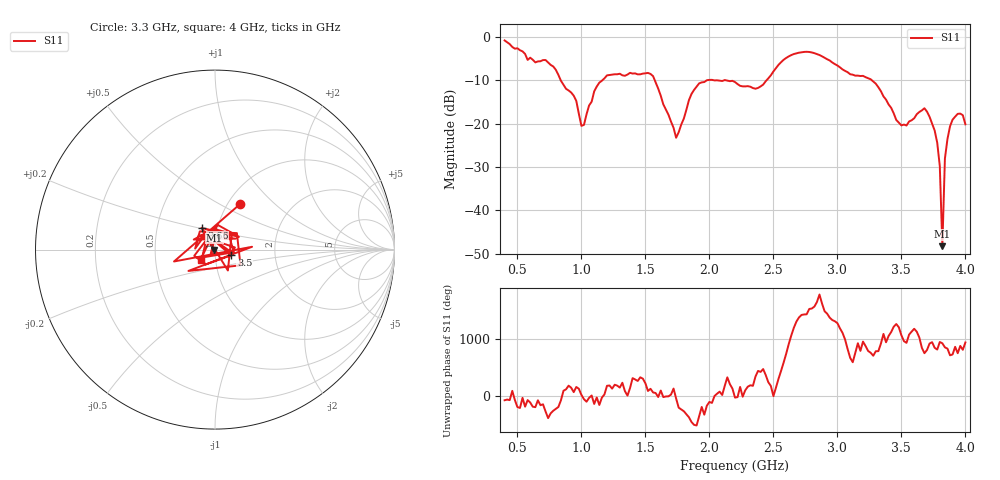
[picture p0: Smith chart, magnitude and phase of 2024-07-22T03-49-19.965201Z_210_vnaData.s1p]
!Created with skrf (http://scikit-rf.org).
# Hz S RI R 50.0
!freq ReS11 ImS11
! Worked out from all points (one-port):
!   181 points, 400 MHz to 4 GHz, reference 50 ohm
!   lowest |S11| = -48.3 dB at 3.82 GHz (marker M1), VSWR 1.01, Z = 49.6 - j0.137 ohm
!   |S11| at or under -10 dB: 839.1 MHz to 1.162 GHz (322.9 MHz wide, 32.3 % of centre); 1.574 GHz to 1.978 GHz (403.7 MHz wide, 22.7 % of centre); 3.271 GHz to end of sweep (the widest 3 of 5)
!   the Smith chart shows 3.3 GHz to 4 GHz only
!   S11 on the Smith chart (normalised r, x): 3.3 GHz: 1.13, +0.63; 3.5 GHz: 1.20, -0.08; 3.66 GHz: 0.84, +0.21; 4 GHz: 0.85, -0.10
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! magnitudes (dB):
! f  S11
! 400 MHz  -0.8
! 580 MHz  -5.3
! 720 MHz  -5.3
! 860 MHz  -11.0
! 960 MHz  -14.7
! 1 GHz  -20.5
! 1.14 GHz  -10.5
! 1.3 GHz  -8.4
! 1.56 GHz  -9.0
! 1.74 GHz  -23.2
! 1.76 GHz  -22.0
! 1.92 GHz  -10.7
! 2.2 GHz  -10.4
! 2.38 GHz  -11.7
! 2.66 GHz  -3.9
! 3.1 GHz  -8.6
! 3.3 GHz  -10.7
! 3.5 GHz  -20.4
! 3.56 GHz  -19.5
! 3.66 GHz  -16.9
! 3.72 GHz  -18.4
! 3.78 GHz  -24.4
! 3.8 GHz  -29.8
! 3.82 GHz  -48.3
! 3.84 GHz  -28.0
! 3.86 GHz  -23.5
! 3.94 GHz  -17.7
! 4 GHz  -20.1
